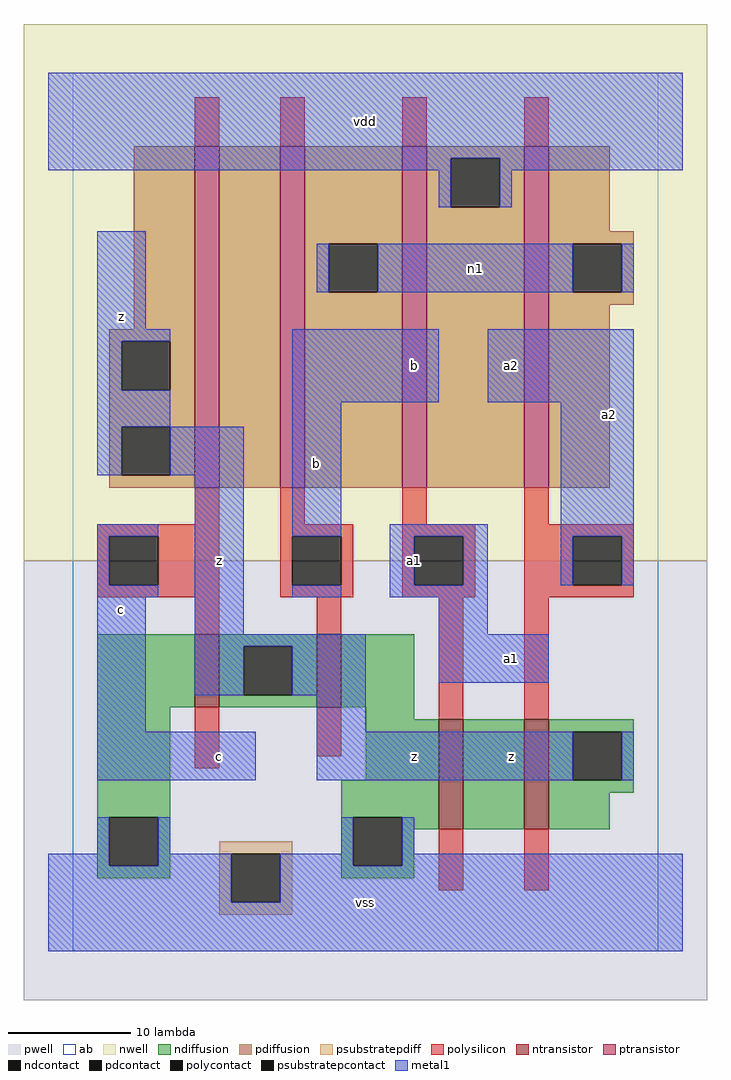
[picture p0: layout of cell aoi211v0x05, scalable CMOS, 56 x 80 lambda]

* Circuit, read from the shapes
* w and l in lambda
.subckt aoi211v0x05 a1 a2 b c n1 vdd vss z
M1 z c vss vss nfet w=6 l=2
M2 vss b z vss nfet w=6 l=2
M3 n2 a1 vss vss nfet w=9 l=2
M4 z a2 n2 vss nfet w=9 l=2
M5 n3 c z n4 pfet w=28 l=2
M6 n1 b n3 n4 pfet w=28 l=2
M7 vdd a1 n1 n4 pfet w=28 l=2
M8 n1 a2 vdd n4 pfet w=28 l=2
.ends

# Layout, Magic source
magic
tech scmos
<< ab >>
rect 0 0 48 72
<< pwell >>
rect -4 -4 52 32
<< nwell >>
rect -4 32 52 76
<< polysilicon >>
rect 10 66 12 70
rect 17 66 19 70
rect 27 66 29 70
rect 37 66 39 70
rect 10 35 12 38
rect 2 34 12 35
rect 2 30 3 34
rect 7 30 12 34
rect 2 29 12 30
rect 17 35 19 38
rect 27 35 29 38
rect 37 35 39 38
rect 17 34 23 35
rect 17 30 18 34
rect 22 30 23 34
rect 17 29 23 30
rect 27 34 33 35
rect 27 30 28 34
rect 32 30 33 34
rect 27 29 33 30
rect 37 34 46 35
rect 37 30 41 34
rect 45 30 46 34
rect 37 29 46 30
rect 10 26 12 29
rect 20 26 22 29
rect 10 15 12 20
rect 20 16 22 20
rect 30 19 32 29
rect 37 19 39 29
rect 30 5 32 10
rect 37 5 39 10
<< ndiffusion >>
rect 2 20 10 26
rect 12 25 20 26
rect 12 21 14 25
rect 18 21 20 25
rect 12 20 20 21
rect 22 20 28 26
rect 2 11 8 20
rect 24 19 28 20
rect 24 14 30 19
rect 2 7 3 11
rect 7 7 8 11
rect 22 11 30 14
rect 2 6 8 7
rect 22 7 23 11
rect 27 10 30 11
rect 32 10 37 19
rect 39 18 46 19
rect 39 14 41 18
rect 45 14 46 18
rect 39 13 46 14
rect 39 10 44 13
rect 27 7 28 10
rect 22 6 28 7
<< pdiffusion >>
rect 5 51 10 66
rect 3 50 10 51
rect 3 46 4 50
rect 8 46 10 50
rect 3 43 10 46
rect 3 39 4 43
rect 8 39 10 43
rect 3 38 10 39
rect 12 38 17 66
rect 19 58 27 66
rect 19 54 21 58
rect 25 54 27 58
rect 19 38 27 54
rect 29 65 37 66
rect 29 61 31 65
rect 35 61 37 65
rect 29 38 37 61
rect 39 59 44 66
rect 39 58 46 59
rect 39 54 41 58
rect 45 54 46 58
rect 39 53 46 54
rect 39 38 44 53
<< metal1 >>
rect -2 65 50 72
rect -2 64 31 65
rect 30 61 31 64
rect 35 64 50 65
rect 35 61 36 64
rect 2 51 6 59
rect 20 54 21 58
rect 25 54 41 58
rect 45 54 46 58
rect 2 50 8 51
rect 2 46 4 50
rect 2 43 8 46
rect 18 45 30 51
rect 34 45 46 51
rect 2 39 4 43
rect 8 39 14 43
rect 2 34 7 35
rect 2 30 3 34
rect 2 29 7 30
rect 2 18 6 29
rect 10 26 14 39
rect 18 34 22 45
rect 18 29 22 30
rect 26 34 34 35
rect 26 30 28 34
rect 32 30 34 34
rect 40 34 46 45
rect 40 30 41 34
rect 45 30 46 34
rect 26 29 34 30
rect 30 26 34 29
rect 10 25 24 26
rect 10 21 14 25
rect 18 21 24 25
rect 30 22 39 26
rect 20 18 24 21
rect 2 14 15 18
rect 20 14 41 18
rect 45 14 46 18
rect 2 8 3 11
rect -2 7 3 8
rect 7 8 8 11
rect 22 8 23 11
rect 7 7 13 8
rect -2 4 13 7
rect 17 7 23 8
rect 27 8 28 11
rect 27 7 50 8
rect 17 4 50 7
rect -2 0 50 4
<< ntransistor >>
rect 10 20 12 26
rect 20 20 22 26
rect 30 10 32 19
rect 37 10 39 19
<< ptransistor >>
rect 10 38 12 66
rect 17 38 19 66
rect 27 38 29 66
rect 37 38 39 66
<< polycontact >>
rect 3 30 7 34
rect 18 30 22 34
rect 28 30 32 34
rect 41 30 45 34
<< ndcontact >>
rect 14 21 18 25
rect 3 7 7 11
rect 23 7 27 11
rect 41 14 45 18
<< pdcontact >>
rect 4 46 8 50
rect 4 39 8 43
rect 21 54 25 58
rect 31 61 35 65
rect 41 54 45 58
<< psubstratepcontact >>
rect 13 4 17 8
<< psubstratepdiff >>
rect 12 8 18 9
rect 12 4 13 8
rect 17 4 18 8
rect 12 3 18 4
<< labels >>
rlabel metal1 4 28 4 28 6 c
rlabel metal1 4 52 4 52 6 z
rlabel metal1 12 16 12 16 6 c
rlabel metal1 12 32 12 32 6 z
rlabel metal1 20 40 20 40 6 b
rlabel metal1 24 4 24 4 6 vss
rlabel metal1 28 16 28 16 6 z
rlabel metal1 28 32 28 32 6 a1
rlabel metal1 28 48 28 48 6 b
rlabel metal1 24 68 24 68 6 vdd
rlabel metal1 36 16 36 16 6 z
rlabel metal1 36 24 36 24 6 a1
rlabel metal1 36 48 36 48 6 a2
rlabel metal1 44 44 44 44 6 a2
rlabel metal1 33 56 33 56 6 n1
<< end >>
